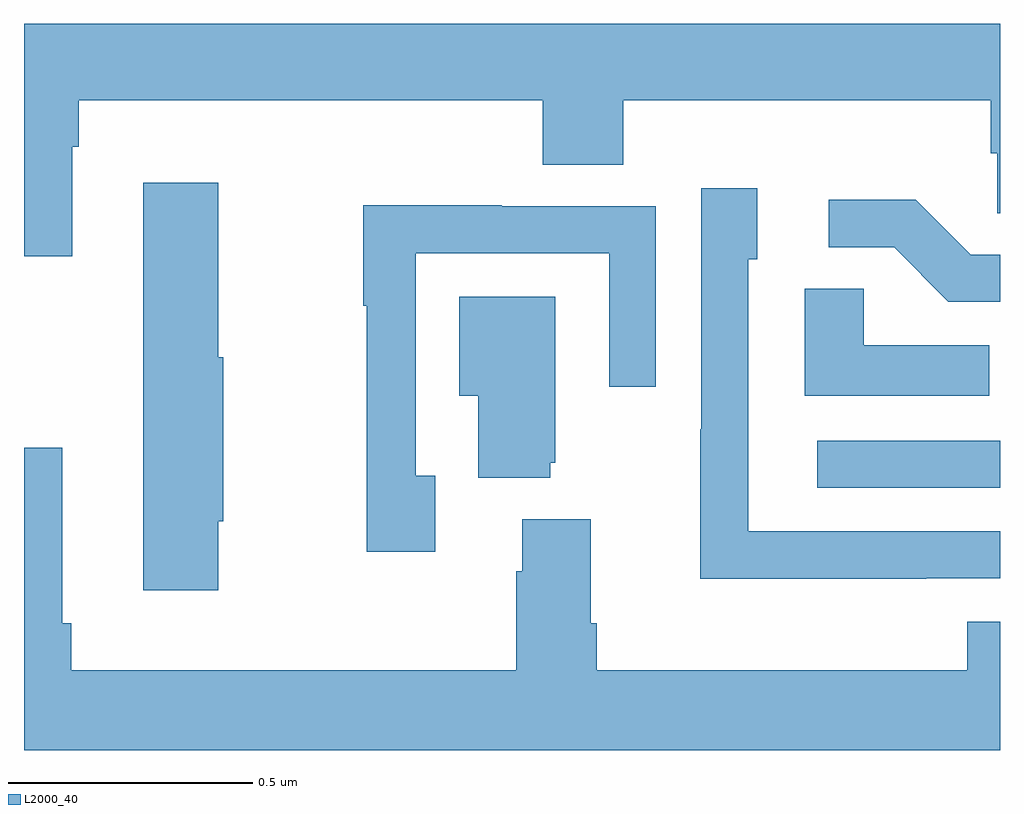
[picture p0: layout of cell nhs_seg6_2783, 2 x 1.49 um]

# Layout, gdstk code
import gdstk
lib = gdstk.Library(unit=1e-6, precision=1e-09)
def R(c, l, rs):  # rectangles x0, y0, x1, y1
    for r in rs: c.add(gdstk.rectangle(r[:2], r[2:], *l))
def P(c, l, *ps):  # polygons
    for p in ps: c.add(gdstk.Polygon(p, *l))
L2000_40 = (2000, 40)

nhs_seg6_2783 = lib.new_cell('nhs_seg6_2783')
R(nhs_seg6_2783, L2000_40, [(149.625,938.55,150,938.646)])
P(nhs_seg6_2783, L2000_40, [(148.099,939.248),(148.112,939.248),(148.112,939.344),(149.063,939.344),(149.063,939.211),(149.228,939.211),(149.228,939.344),(149.981,939.344),(149.981,939.235),(149.994,939.235),(149.994,939.112),(150,939.112),(150,939.5),(148,939.5),(148,939.024),(148.099,939.024)],
  [(148.398,938.481),(148.408,938.481),(148.408,938.817),(148.398,938.817),(148.398,939.175),(148.244,939.175),(148.244,938.34),(148.398,938.34)],
  [(149.849,938.364),(150,938.364),(150,938.46),(149.484,938.46),(149.484,939.018),(149.503,939.018),(149.503,939.163),(149.388,939.163),(149.388,938.669),(149.386,938.669),(149.386,938.363),(149.849,938.363)],
  [(150,939.027),(149.94,939.027),(149.827,939.14),(149.649,939.14),(149.649,939.042),(149.783,939.042),(149.894,938.931),(150,938.931)],
  [(148.843,938.574),(148.803,938.574),(148.803,939.03),(149.199,939.03),(149.199,938.757),(149.295,938.757),(149.295,939.126),(148.979,939.126),(148.979,939.128),(148.695,939.128),(148.695,938.923),(148.702,938.923),(148.702,938.418),(148.843,938.418)],
  [(149.978,938.842),(149.721,938.842),(149.721,938.957),(149.6,938.957),(149.6,938.738),(149.978,938.738)],
  [(149.078,938.601),(149.089,938.601),(149.089,938.941),(148.892,938.941),(148.892,938.738),(148.931,938.738),(148.931,938.57),(149.078,938.57)],
  [(150,938.275),(149.933,938.275),(149.933,938.176),(149.174,938.176),(149.174,938.272),(149.161,938.272),(149.161,938.485),(149.021,938.485),(149.021,938.378),(149.009,938.378),(149.009,938.176),(148.097,938.176),(148.097,938.272),(148.078,938.272),(148.078,938.632),(148,938.632),(148,938.012),(150,938.012)])

lib.write_gds('nhs_seg6_2783.gds')
